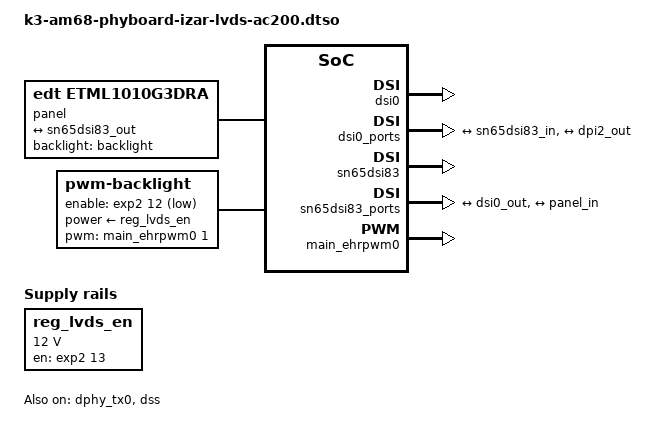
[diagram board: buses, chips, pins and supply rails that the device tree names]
// SPDX-License-Identifier: GPL-2.0
/*
 * Copyright (C) 2023 PHYTEC Messtechnik GmbH
 * Author: Dominik Haller <d.haller@phytec.de>
 */

/dts-v1/;
/plugin/;

#include <dt-bindings/gpio/gpio.h>
#include "k3-pinctrl.h"

&{/} {
	panel {
		compatible = "edt,etml1010g3dra";
		backlight = <&backlight>;

		port {
			panel_in: endpoint {
				remote-endpoint = <&sn65dsi83_out>;
			};
		};
	};

	backlight: backlight {
		compatible = "pwm-backlight";
		pinctrl-names = "default";
		pinctrl-0 = <&main_lvds_pins_default>;
		pwms = <&main_ehrpwm0 1 6666666 0>;
		power-supply = <&reg_lvds_en>;
		enable-gpios = <&exp2 12 GPIO_ACTIVE_LOW>;
		brightness-levels = <0 32 64 96 128 160 192 224 255>;
		default-brightness-level = <6>;
	};

	reg_lvds_en: regulator-lvds-en {
		compatible = "regulator-fixed";
		regulator-name = "lvds_en";
		regulator-min-microvolt = <12000000>;
		regulator-max-microvolt = <12000000>;
		enable-active-high;
		gpio = <&exp2 13 GPIO_ACTIVE_HIGH>;
	};
};

&main_pmx0 {
	main_lvds_pins_default: main-panel-pins-default {
		pinctrl-single,pins = <
			J721S2_IOPAD(0x064, PIN_OUTPUT, 9) /* (W28) MCAN0_TX.EHRPWM0_B */
		>;
	};
};

&dphy_tx0 {
	status = "okay";
};

&dss {
	assigned-clocks = <&k3_clks 158 14>;
	assigned-clock-parents = <&k3_clks 158 16>;
	assigned-clock-rates = <78950000>;
	status = "okay";
};

&dss_ports {
	#address-cells = <1>;
	#size-cells = <0>;

	port@2 {
		reg = <2>;
		dpi2_out: endpoint {
			remote-endpoint = <&dsi0_in>;
		};
	};
};

&dsi0 {
	status = "okay";
};

&dsi0_ports {
	#address-cells = <1>;
	#size-cells = <0>;

	port@0 {
		reg = <0>;
		dsi0_out: endpoint {
			remote-endpoint = <&sn65dsi83_in>;
		};
	};

	port@1 {
		reg = <1>;
		dsi0_in: endpoint {
			remote-endpoint = <&dpi2_out>;
		};
	};
};

&sn65dsi83 {
	status = "okay";
};

&sn65dsi83_ports {
	#address-cells = <1>;
	#size-cells = <0>;

	port@0 {
		reg = <0>;
		sn65dsi83_in: endpoint {
			remote-endpoint = <&dsi0_out>;
			data-lanes = <1 2 3 4>;
		};
	};

	port@2 {
		reg = <2>;
		sn65dsi83_out: endpoint {
			remote-endpoint = <&panel_in>;
		};
	};
};

&main_ehrpwm0 {
	status = "okay";
};
